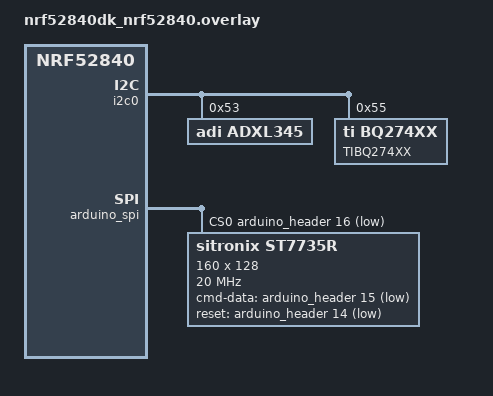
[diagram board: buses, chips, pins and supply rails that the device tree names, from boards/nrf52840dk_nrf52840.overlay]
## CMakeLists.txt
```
# SPDX-License-Identifier: Apache-2.0

cmake_minimum_required(VERSION 3.13.1)
find_package(Zephyr REQUIRED HINTS $ENV{ZEPHYR_BASE})
project(blinky)

target_sources(app PRIVATE src/main.c)

# Custom files and folders

target_sources(app PRIVATE
    src/remote_service/remote.c
)

zephyr_library_include_directories(src/remote_service)
```

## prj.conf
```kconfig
# STEP 2 - Enable the I2C driver
CONFIG_I2C=y
CONFIG_SENSOR=y
CONFIG_ADXL345=y
CONFIG_BQ274XX=y
# STEP 4.2 - Enable floating point format specifiers
CONFIG_CBPRINTF_FP_SUPPORT=y

CONFIG_PRINTK=y
# Configure logger
# CONFIG_LOG=y
# CONFIG_LOG_STRDUP_BUF_COUNT=12
# CONFIG_USE_SEGGER_RTT=n
# CONFIG_LOG_BACKEND_UART=y
# CONFIG_LOG_DEFAULT_LEVEL=3

# Configure buttons and LEDs.
CONFIG_GPIO=y
CONFIG_DK_LIBRARY=y

# Configure Bluetooth
CONFIG_BT=y
CONFIG_BT_PERIPHERAL=y
CONFIG_BT_DEVICE_NAME="ADXL345_BLE"
CONFIG_BT_DEVICE_APPEARANCE=0
CONFIG_BT_MAX_CONN=1
CONFIG_BT_LL_SOFTDEVICE=y

# Enable mcumgr.
CONFIG_MCUMGR=y

# Enable most core commands.
CONFIG_MCUMGR_CMD_IMG_MGMT=y
CONFIG_MCUMGR_CMD_OS_MGMT=y

# Ensure an MCUboot-compatible binary is generated.
CONFIG_BOOTLOADER_MCUBOOT=y

# Allow for large Bluetooth data packets.
CONFIG_BT_L2CAP_TX_MTU=252
CONFIG_BT_BUF_ACL_RX_SIZE=256

# Enable the Bluetooth (unauthenticated) and shell mcumgr transports.
CONFIG_MCUMGR_SMP_BT=y
CONFIG_MCUMGR_SMP_BT_AUTHEN=n

# Some command handlers require a large stack.
CONFIG_SYSTEM_WORKQUEUE_STACK_SIZE=4096

CONFIG_SPI=y
CONFIG_DISPLAY=y
CONFIG_ST7735R=y
CONFIG_HEAP_MEM_POOL_SIZE=16384
CONFIG_MAIN_STACK_SIZE=2048
CONFIG_LVGL=y
CONFIG_LVGL_USE_LABEL=y
CONFIG_LVGL_USE_CONT=y
CONFIG_LVGL_USE_BTN=y
CONFIG_LVGL_USE_THEME_EMPTY=y
CONFIG_LVGL_FONT_MONTSERRAT_14=y
CONFIG_LVGL_THEME_DEFAULT_FONT_NORMAL_MONTSERRAT_14=y
```

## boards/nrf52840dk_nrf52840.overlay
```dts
&i2c0 {
    adxl345@53 {
		compatible = "adi,adxl345";
		label = "ADXL345";
		reg = <0x53>;
	};
};

&i2c0 {
    bq274xx@55 {
		compatible = "ti,bq274xx";
		label = "TIBQ274XX";
		reg = <0x55>;
		design-voltage = < 4200 >;
		design-capacity = < 1100 >;
		taper-current = < 100 >;
		terminate-voltage = < 3700 >;
	};
};

/ {
	chosen {
		zephyr,display = &st7735r;
	};
};

&arduino_spi {
	status = "okay";
	cs-gpios = <&arduino_header 16 GPIO_ACTIVE_LOW>;	/* D10 */

	st7735r: st7735r@0 {
		compatible = "sitronix,st7735r";
		label = "ST7735R";
		spi-max-frequency = <20000000>;
		reg = <0>;
		cmd-data-gpios = <&arduino_header 15 GPIO_ACTIVE_LOW>;	/* D9 */
		reset-gpios = <&arduino_header 14 GPIO_ACTIVE_LOW>;	/* D8 */
		width = <160>;
		height = <128>;
		x-offset = <0>;
		y-offset = <0>;
		madctl = <0x60>;
		colmod = <0x55>;
		vmctr1 = <0x0e>;
		pwctr1 = [a2 02 84];
		pwctr2 = [c5];
		pwctr3 = [0a 00];
		pwctr4 = [8a 2a];
		pwctr5 = [8a ee];
		frmctr1 = [01 2c 2d];
		frmctr2 = [01 2c 2d];
		frmctr3 = [01 2c 2d 01 2c 2d];
		gamctrp1 = [02 1c 07 12 37 32 29 2d 29 25 2b 39 00 01 03 10];
		gamctrn1 = [03 1d 07 06 2e 2c 29 2d 2e 2e 37 3f 00 00 02 10];
	};
};
```

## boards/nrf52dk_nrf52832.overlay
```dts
&i2c0 {
    adxl345@0 {
		compatible = "adi,adxl345";
		label = "ADXL345";
		reg = <0x1D>;
	};
};
```

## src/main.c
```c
/*
 * Copyright (c) 2016 Intel Corporation
 *
 * SPDX-License-Identifier: Apache-2.0
 */

#include <zephyr.h>
#include <device.h>
#include <devicetree.h>

// #include <logging/log.h>
#include <dk_buttons_and_leds.h>

// #include "adxl345.h"
#include <drivers/sensor.h>
#if !DT_HAS_COMPAT_STATUS_OKAY(adi_adxl345)
#error "No adi,adxl345 compatible node found in the device tree"
#endif

struct adxl345_data
{
    /* data */
    int16_t x;
    int16_t y;
    int16_t z;
};

#include "remote.h"

#define RUN_STATUS_LED DK_LED1
#define CONN_STATUS_LED DK_LED2
#define RUN_LED_BLINK_INTERVAL 250

static struct bt_conn *current_conn;
bool isNotify = false;
static int counter = 0;

// static void repeating_timer_callback(struct k_work *dummy){
// 	counter++;
// 	printk("Timer counter %d\n", counter);
// }

// K_WORK_DEFINE(repeating_timer_work, repeating_timer_callback);

void repeating_timer_handler(struct k_timer *dummy)
{
    // k_work_submit(&repeating_timer_work);
	counter++;
}

K_TIMER_DEFINE(my_timer, repeating_timer_handler, NULL);

/* Declarations */
void on_connected(struct bt_conn *conn, uint8_t err);
void on_disconnected(struct bt_conn *conn, uint8_t reason);
void on_notif_changed(enum bt_button_notifications_enabled status);
void on_data_received(struct bt_conn *conn, const uint8_t *const data, uint16_t len);

struct bt_conn_cb bluetooth_callbacks = {
	.connected 		= on_connected,
	.disconnected 	= on_disconnected,
};

struct bt_remote_service_cb remote_service_callbacks = {
	.notif_changed = on_notif_changed,
	.data_received = on_data_received,
};

/* Callback */
void on_connected(struct bt_conn *conn, uint8_t err)
{
	if(err) {
		printk("connection err: %d\n", err);
		return;
	}
	printk("Connected.\n");
	current_conn = bt_conn_ref(conn);
	dk_set_led_on(CONN_STATUS_LED);
}

void on_disconnected(struct bt_conn *conn, uint8_t reason)
{
	printk("Disconnected (reason: %d)\n", reason);
	dk_set_led_off(CONN_STATUS_LED);
	if(current_conn) {
		bt_conn_unref(current_conn);
		current_conn = NULL;
	}	
}

void on_notif_changed(enum bt_button_notifications_enabled status)
{
    if (status == BT_BUTTON_NOTIFICATIONS_ENABLED) {
		isNotify = true;
        printk("Notifications enabled\n");
    } else {
		isNotify = false;
        printk("Notifications disabled\n");
    }
}

void on_data_received(struct bt_conn *conn, const uint8_t *const data, uint16_t len)
{
    uint8_t temp_str[len+1];
    memcpy(temp_str, data, len);
    temp_str[len] = 0x00;

    printk("Received data on conn %p. Len: %d\n", (void *)conn, len);
    printk("Data: %s\n", temp_str);
}

void button_handler(uint32_t button_state, uint32_t has_changed)
{
    int err;
	int button_pressed = 0;
	if (has_changed & button_state)
	{
		switch (has_changed)
		{
			case DK_BTN1_MSK:
				button_pressed = 1;
				break;
			case DK_BTN2_MSK:
				button_pressed = 2;
				break;
			case DK_BTN3_MSK:
				button_pressed = 3;
				break;
			case DK_BTN4_MSK:
				button_pressed = 4;
				break;
			default:
				break;
		}
        printk("Button %d pressed.\n", button_pressed);       
		set_button_value(button_pressed);
		err = send_button_notification(current_conn, &button_pressed, 1);
		if (err) {
            printk("Couldn't send notificaton. (err: %d)\n", err);
        }
    }
}

/* Configurations */
static void configure_dk_buttons_leds(void)
{
    int err;
    err = dk_leds_init();
    if (err) {
        printk("Couldn't init LEDS (err %d)\n", err);
    }
    err = dk_buttons_init(button_handler);
    if (err) {
        printk("Couldn't init buttons (err %d)\n", err);
    }
}

void main(void)
{
	int err;
    int blink_status = 0;

	struct sensor_value accel[3], voltage;
	struct adxl345_data adxl345_data;

	printk("Hello World! %s\n", CONFIG_BOARD);

	configure_dk_buttons_leds();

	err = bluetooth_init(&bluetooth_callbacks, &remote_service_callbacks);
    if (err) {
        printk("Couldn't initialize Bluetooth. err: %d\n", err);
		return;
    }

	const struct device *sensor = DEVICE_DT_GET(DT_INST(0, adi_adxl345));

	if (sensor == NULL || !device_is_ready(sensor)) {
		printk("Could not get %s device\n", DT_LABEL(DT_INST(0, adi_adxl345)));
		// return;
	}

	const struct device *dev = DEVICE_DT_GET(DT_INST(0, ti_bq274xx));
	

	if (dev == NULL || !device_is_ready(dev)) {
		printk("Could not get %s device\n", DT_LABEL(DT_INST(0, ti_bq274xx)));
		// return;
	}

	k_timer_init(&my_timer, repeating_timer_handler, NULL);
	k_timer_start(&my_timer, K_NO_WAIT, K_MSEC(250));	

	while (1) {		
		if(counter > 0){
			counter = 0;
			dk_set_led(RUN_STATUS_LED, (blink_status++)%2);		

			if (sensor_sample_fetch(sensor) < 0) {
				printk("sensor_sample_fetch failed\n");
			}		

			sensor_channel_get(sensor, SENSOR_CHAN_ACCEL_XYZ, accel);

			adxl345_data.x = (int16_t) sensor_value_to_double(&accel[0]);
			adxl345_data.y = (int16_t) sensor_value_to_double(&accel[1]);
			adxl345_data.z = (int16_t) sensor_value_to_double(&accel[2]);

			err = sensor_sample_fetch_chan(dev,
						  SENSOR_CHAN_GAUGE_VOLTAGE);
			if (err < 0) {
				printk("Unable to fetch the voltage\n");
				return;
			}

			err = sensor_channel_get(dev, SENSOR_CHAN_GAUGE_VOLTAGE,
							&voltage);
			if (err < 0) {
				printk("Unable to get the voltage value\n");
				return;
			}

			printk("Voltage: %d.%06dV\n", voltage.val1, voltage.val2);
			
			if(isNotify){
				err = send_adxl345_notification(current_conn, (uint8_t*)&adxl345_data, sizeof(adxl345_data));
				if (err) {
					printk("Couldn't send notificaton. (err: %d)\n", err);
				}
			}
			// printk("ACC X : %d, Y: %d, Z: %d \r\n", adxl345_data.x, adxl345_data.y, adxl345_data.z); 
		}
		k_sleep(K_MSEC(1));		
	}	
}


// #include <zephyr.h>
// #include "adxl345.h"
// #define APP_EVENT_QUEUE_SIZE 20

// enum app_event_type
// {
// 	APP_EVENT_TIMER,
// 	APP_EVENT_SENSOR_DATA,
// };

// struct app_event
// {
// 	enum app_event_type type;
// 	union 
// 	{
// 		int err;
// 		uint32_t value;
// 	};	
// };

// K_MSGQ_DEFINE(app_msgq, sizeof(struct app_event), APP_EVENT_QUEUE_SIZE, 4);

// void timer_expiry_fn(struct k_timer *dummy)
// {
// 	struct app_event evt = {
// 		.type = APP_EVENT_TIMER,
// 		.value = 1234,
// 	};

// 	k_msgq_put(&app_msgq, &evt, K_NO_WAIT);
// }

// K_TIMER_DEFINE(timer, timer_expiry_fn, NULL);

// void main(void)
// {
// 	struct app_event evt;

// 	printk("We are started\n");

// 	k_timer_start(&timer, K_SECONDS(1), K_SECONDS(1));

// 	while (true)
// 	{
// 		k_msgq_get(&app_msgq, &evt, K_FOREVER);

// 		printk("EVENT type: %i\n", evt.type);

// 		switch (evt.type)
// 		{
// 		case APP_EVENT_TIMER:
// 			printk("EVENT value: %i\n", evt.value);
// 			break;
		
// 		default:
// 			break;
// 		}
// 	}
	
// }
```

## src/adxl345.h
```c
/****************************************************************************
ADXL345.h
Defines and functions specific to the ADXL345
Mike Hord @ SparkFun Electronics
24 Jan 2017
https://github.com/sparkfun/Spectacle_Accelerometer_Input_Board

This file contains definitions specific to the ADXL345. The accelerometer
used is fairly easy to change, as only the ADXL345.h and .c files need to be
changed.

Development environment specifics:
Developed in PSoC Creator 4.0

This code is beerware; if you see me (or any other SparkFun employee) at the
local, and you've found our code helpful, please buy us a round!
****************************************************************************/

#ifndef __adxl345_h__
#define __adxl345_h__
#include <sys/util.h>
    
// This is the right justified address of the accelerometer, when the SDO pin
//  is grounded (as it is in our application).
#define ADXL345_ADDR 0x1D

// Register map
#define DEVID           0      // Reads 11100101/0xE5
#define THRESH_TAP      0x1D   // Tap detection threshold
#define OFSX            0x1E   // X-axis offset
#define OFSY            0x1F   // Y-axis offset
#define OFSZ            0x20   // Z-axis offset
#define DUR             0x21   // Tap duration
#define LATENT          0x22   // Tap latency
#define WINDOW          0x23   // Tap window
#define THRESH_ACT      0x24   // Activity threshold
#define THRESH_INACT    0x25   // Inactivity threshold
#define TIME_INACT      0x26   // Inactivity time
#define ACT_INACT_CTL   0x27   // Axis enable control for activity and
                               //  inactivity detection
#define THRESH_FF       0x28   // Free-fall threshold
#define TIME_FF         0x29   // Free-fall time
#define TAP_AXES        0x2A   // Axis control for tap/double tap
#define ACT_TAP_STATUS  0x2B   // Source of tap/double tap
#define BW_RATE         0x2C   // Data rate and power mode control
#define POWER_CTL       0x2D   // Power-saving features control
#define INT_ENABLE      0x2E   // Interrupt enable control
#define INT_MAP         0x2F   // Interrupt mapping control
#define INT_SOURCE      0x30   // Source of interrupts
#define DATA_FORMAT     0x31   // Data format control
#define DATAX0          0x32   // X-axis Data 0
#define DATAX1          0x33   // X-axis Data 1
#define DATAY0          0x34   // Y-axis Data 0
#define DATAY1          0x35   // Y-axis Data 1
#define DATAZ0          0x36   // Z-axis Data 0
#define DATAZ1          0x37   // Z-axis Data 1
#define FIFO_CTL        0x38   // FIFO control
#define FIFO_STATUS     0x39   // FIFO status

enum {Aup = 1, Bup, Cup, Dup, Topup, Botup};

void readXYZ(int16_t *x, int16_t *y, int16_t *z);
void configureXl(void);

#endif
```

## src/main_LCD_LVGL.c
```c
/*
 * Copyright (c) 2018 Jan Van Winkel <jan.van_winkel@dxplore.eu>
 *
 * SPDX-License-Identifier: Apache-2.0
 */

#include <device.h>
#include <drivers/display.h>
#include <lvgl.h>
#include <stdio.h>
#include <string.h>
#include <zephyr.h>

#define LOG_LEVEL CONFIG_LOG_DEFAULT_LEVEL
#include <logging/log.h>
LOG_MODULE_REGISTER(app);

void main(void)
{
	uint32_t count = 0U;
	char count_str[11] = {0};
	const struct device *display_dev;
	lv_obj_t *hello_world_label;
	lv_obj_t *count_label;

	display_dev = DEVICE_DT_GET(DT_CHOSEN(zephyr_display));
	if (!device_is_ready(display_dev)) {
		LOG_ERR("Device not ready, aborting test");
		return;
	}

	if (IS_ENABLED(CONFIG_LVGL_POINTER_KSCAN)) {
		lv_obj_t *hello_world_button;

		hello_world_button = lv_btn_create(lv_scr_act(), NULL);
		lv_obj_align(hello_world_button, NULL, LV_ALIGN_CENTER, 0, 0);
		lv_btn_set_fit(hello_world_button, LV_FIT_TIGHT);
		hello_world_label = lv_label_create(hello_world_button, NULL);
	} else {
		hello_world_label = lv_label_create(lv_scr_act(), NULL);
	}

	lv_label_set_text(hello_world_label, "Hello world!");
	lv_obj_align(hello_world_label, NULL, LV_ALIGN_CENTER, 0, 0);

	count_label = lv_label_create(lv_scr_act(), NULL);
	lv_obj_align(count_label, NULL, LV_ALIGN_IN_BOTTOM_MID, 0, 0);

	lv_task_handler();
	display_blanking_off(display_dev);

	while (1) {
		if ((count % 100) == 0U) {
			sprintf(count_str, "%d", count/100U);
			lv_label_set_text(count_label, count_str);
		}
		lv_task_handler();
		k_sleep(K_MSEC(10));
		++count;
	}
}
```

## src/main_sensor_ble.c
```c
/*
 * Copyright (c) 2016 Intel Corporation
 *
 * SPDX-License-Identifier: Apache-2.0
 */

#include <zephyr.h>
#include <device.h>
#include <devicetree.h>

// #include <logging/log.h>
#include <dk_buttons_and_leds.h>

// #include "adxl345.h"
#include <drivers/sensor.h>
#if !DT_HAS_COMPAT_STATUS_OKAY(adi_adxl345)
#error "No adi,adxl345 compatible node found in the device tree"
#endif


struct adxl345_data
{
    /* data */
    int16_t x;
    int16_t y;
    int16_t z;
};

#include "remote.h"

#define RUN_STATUS_LED DK_LED1
#define CONN_STATUS_LED DK_LED2
#define RUN_LED_BLINK_INTERVAL 250

static struct bt_conn *current_conn;
bool isNotify = false;
static int counter = 0;

// static void repeating_timer_callback(struct k_work *dummy){
// 	counter++;
// 	printk("Timer counter %d\n", counter);
// }

// K_WORK_DEFINE(repeating_timer_work, repeating_timer_callback);

void repeating_timer_handler(struct k_timer *dummy)
{
    // k_work_submit(&repeating_timer_work);
	counter++;
}

K_TIMER_DEFINE(my_timer, repeating_timer_handler, NULL);

/* Declarations */
void on_connected(struct bt_conn *conn, uint8_t err);
void on_disconnected(struct bt_conn *conn, uint8_t reason);
void on_notif_changed(enum bt_button_notifications_enabled status);
void on_data_received(struct bt_conn *conn, const uint8_t *const data, uint16_t len);

struct bt_conn_cb bluetooth_callbacks = {
	.connected 		= on_connected,
	.disconnected 	= on_disconnected,
};

struct bt_remote_service_cb remote_service_callbacks = {
	.notif_changed = on_notif_changed,
	.data_received = on_data_received,
};

/* Callback */
void on_connected(struct bt_conn *conn, uint8_t err)
{
	if(err) {
		printk("connection err: %d\n", err);
		return;
	}
	printk("Connected.\n");
	current_conn = bt_conn_ref(conn);
	dk_set_led_on(CONN_STATUS_LED);
}

void on_disconnected(struct bt_conn *conn, uint8_t reason)
{
	printk("Disconnected (reason: %d)\n", reason);
	dk_set_led_off(CONN_STATUS_LED);
	if(current_conn) {
		bt_conn_unref(current_conn);
		current_conn = NULL;
	}	
}

void on_notif_changed(enum bt_button_notifications_enabled status)
{
    if (status == BT_BUTTON_NOTIFICATIONS_ENABLED) {
		isNotify = true;
        printk("Notifications enabled\n");
    } else {
		isNotify = false;
        printk("Notifications disabled\n");
    }
}

void on_data_received(struct bt_conn *conn, const uint8_t *const data, uint16_t len)
{
    uint8_t temp_str[len+1];
    memcpy(temp_str, data, len);
    temp_str[len] = 0x00;

    printk("Received data on conn %p. Len: %d\n", (void *)conn, len);
    printk("Data: %s\n", temp_str);
}

void button_handler(uint32_t button_state, uint32_t has_changed)
{
    int err;
	int button_pressed = 0;
	if (has_changed & button_state)
	{
		switch (has_changed)
		{
			case DK_BTN1_MSK:
				button_pressed = 1;
				break;
			case DK_BTN2_MSK:
				button_pressed = 2;
				break;
			case DK_BTN3_MSK:
				button_pressed = 3;
				break;
			case DK_BTN4_MSK:
				button_pressed = 4;
				break;
			default:
				break;
		}
        printk("Button %d pressed.\n", button_pressed);       
		set_button_value(button_pressed);
		err = send_button_notification(current_conn, &button_pressed, 1);
		if (err) {
            printk("Couldn't send notificaton. (err: %d)\n", err);
        }
    }
}

/* Configurations */
static void configure_dk_buttons_leds(void)
{
    int err;
    err = dk_leds_init();
    if (err) {
        printk("Couldn't init LEDS (err %d)\n", err);
    }
    err = dk_buttons_init(button_handler);
    if (err) {
        printk("Couldn't init buttons (err %d)\n", err);
    }
}

void main(void)
{
	int err;
    int blink_status = 0;

	struct sensor_value accel[3], voltage;
	struct adxl345_data adxl345_data;

	printk("Hello World! %s\n", CONFIG_BOARD);

	configure_dk_buttons_leds();

	err = bluetooth_init(&bluetooth_callbacks, &remote_service_callbacks);
    if (err) {
        printk("Couldn't initialize Bluetooth. err: %d\n", err);
		return;
    }

	const struct device *sensor = DEVICE_DT_GET(DT_INST(0, adi_adxl345));

	if (sensor == NULL || !device_is_ready(sensor)) {
		printk("Could not get %s device\n", DT_LABEL(DT_INST(0, adi_adxl345)));
		// return;
	}

	const struct device *dev = DEVICE_DT_GET(DT_INST(0, ti_bq274xx));
	

	if (dev == NULL || !device_is_ready(dev)) {
		printk("Could not get %s device\n", DT_LABEL(DT_INST(0, ti_bq274xx)));
		// return;
	}

	k_timer_init(&my_timer, repeating_timer_handler, NULL);
	k_timer_start(&my_timer, K_NO_WAIT, K_MSEC(250));	

	while (1) {		
		if(counter > 0){
			counter = 0;
			dk_set_led(RUN_STATUS_LED, (blink_status++)%2);		

			if (sensor_sample_fetch(sensor) < 0) {
				printk("sensor_sample_fetch failed\n");
			}		

			sensor_channel_get(sensor, SENSOR_CHAN_ACCEL_XYZ, accel);

			adxl345_data.x = (int16_t) sensor_value_to_double(&accel[0]);
			adxl345_data.y = (int16_t) sensor_value_to_double(&accel[1]);
			adxl345_data.z = (int16_t) sensor_value_to_double(&accel[2]);

			err = sensor_sample_fetch_chan(dev,
						  SENSOR_CHAN_GAUGE_VOLTAGE);
			if (err < 0) {
				printk("Unable to fetch the voltage\n");
				return;
			}

			err = sensor_channel_get(dev, SENSOR_CHAN_GAUGE_VOLTAGE,
							&voltage);
			if (err < 0) {
				printk("Unable to get the voltage value\n");
				return;
			}

			printk("Voltage: %d.%06dV\n", voltage.val1, voltage.val2);
			
			if(isNotify){
				err = send_adxl345_notification(current_conn, (uint8_t*)&adxl345_data, sizeof(adxl345_data));
				if (err) {
					printk("Couldn't send notificaton. (err: %d)\n", err);
				}
			}
			printk("ACC X : %d, Y: %d, Z: %d \r\n", adxl345_data.x, adxl345_data.y, adxl345_data.z); 
		}
		k_sleep(K_MSEC(1));		
	}	
}


// #include <zephyr.h>
// #include "adxl345.h"
// #define APP_EVENT_QUEUE_SIZE 20

// enum app_event_type
// {
// 	APP_EVENT_TIMER,
// 	APP_EVENT_SENSOR_DATA,
// };

// struct app_event
// {
// 	enum app_event_type type;
// 	union 
// 	{
// 		int err;
// 		uint32_t value;
// 	};	
// };

// K_MSGQ_DEFINE(app_msgq, sizeof(struct app_event), APP_EVENT_QUEUE_SIZE, 4);

// void timer_expiry_fn(struct k_timer *dummy)
// {
// 	struct app_event evt = {
// 		.type = APP_EVENT_TIMER,
// 		.value = 1234,
// 	};

// 	k_msgq_put(&app_msgq, &evt, K_NO_WAIT);
// }

// K_TIMER_DEFINE(timer, timer_expiry_fn, NULL);

// void main(void)
// {
// 	struct app_event evt;

// 	printk("We are started\n");

// 	k_timer_start(&timer, K_SECONDS(1), K_SECONDS(1));

// 	while (true)
// 	{
// 		k_msgq_get(&app_msgq, &evt, K_FOREVER);

// 		printk("EVENT type: %i\n", evt.type);

// 		switch (evt.type)
// 		{
// 		case APP_EVENT_TIMER:
// 			printk("EVENT value: %i\n", evt.value);
// 			break;
		
// 		default:
// 			break;
// 		}
// 	}
	
// }
```
